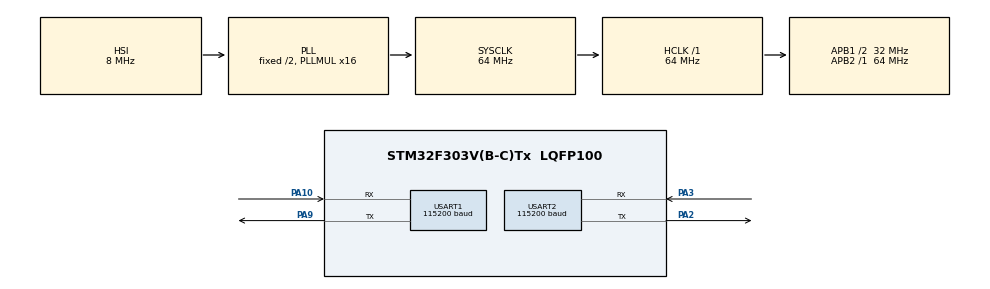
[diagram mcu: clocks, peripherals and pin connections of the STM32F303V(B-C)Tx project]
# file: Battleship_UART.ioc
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Mcu.Family=STM32F3
Mcu.Name=STM32F303V(B-C)Tx
Mcu.Package=LQFP100
NVIC.PriorityGroup=NVIC_PRIORITYGROUP_4
NVIC.USART1_IRQn=true\:0\:0\:false\:false\:true\:true\:true
NVIC.USART2_IRQn=true\:0\:0\:false\:false\:true\:true\:true
PA10.Mode=Asynchronous
PA10.Signal=USART1_RX
PA2.Mode=Asynchronous
PA2.Signal=USART2_TX
PA3.Mode=Asynchronous
PA3.Signal=USART2_RX
PA9.Mode=Asynchronous
PA9.Signal=USART1_TX
ProjectManager.HeapSize=0x200
ProjectManager.StackSize=0x400
ProjectManager.TargetToolchain=MDK-ARM V5.27
RCC.AHBFreq_Value=64000000
RCC.APB1CLKDivider=RCC_HCLK_DIV2
RCC.APB1Freq_Value=32000000
RCC.APB1TimFreq_Value=64000000
RCC.APB2Freq_Value=64000000
RCC.APB2TimFreq_Value=64000000
RCC.CortexFreq_Value=64000000
RCC.HCLKFreq_Value=64000000
RCC.HSE_VALUE=8000000
RCC.HSI_VALUE=8000000
RCC.LSE_VALUE=32768
RCC.PLLMUL=RCC_PLL_MUL16
RCC.SYSCLKFreq_VALUE=64000000
RCC.SYSCLKSourceVirtual=RCC_SYSCLKSOURCE_PLLCLK
RCC.USBFreq_Value=64000000
USART1.BaudRate=115200
USART1.VirtualMode-Asynchronous=VM_ASYNC
USART2.BaudRate=115200
USART2.VirtualMode-Asynchronous=VM_ASYNC
VP_CRC_VS_CRC.Mode=CRC_Activate
board=custom

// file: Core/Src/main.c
/* USER CODE BEGIN Header */
/**
  ******************************************************************************
  * @file           : main.c
  * @brief          : Main program body
  ******************************************************************************
  * @attention
  *
  * <h2><center>&copy; Copyright (c) 2023 STMicroelectronics.
  * All rights reserved.</center></h2>
  *
  * This software component is licensed by ST under BSD 3-Clause license,
  * the "License"; You may not use this file except in compliance with the
  * License. You may obtain a copy of the License at:
  *                        opensource.org/licenses/BSD-3-Clause
  *
  ******************************************************************************
  */
/* USER CODE END Header */
#include "main.h"

/* USER CODE BEGIN Includes */
#include "linear_buf.h"
#include "Battleships.h"
#include <stdio.h>
/* USER CODE END Includes */

CRC_HandleTypeDef hcrc;

UART_HandleTypeDef huart1;
UART_HandleTypeDef huart2;

/* USER CODE BEGIN PV */
uint8_t uart_byte_buf[1];
linear_buf uart_lb;

uint8_t homeMatrix[10][10];
uint8_t awayMatrix[10][10];
uint8_t shotsMatrix[10][10];
Ships Carrier={1,1,0,carrier};
Ships Destroyer={1,2,0,destroyer};
Ships Battleship={1,3,0,battleship};
Ships Submarine={1,4,0,submarine};
Ships Patrol_boat={1,5,0,patrol_boat};
uint8_t poruka[30]={0};

/* USER CODE END PV */

void SystemClock_Config(void);
static void MX_GPIO_Init(void);
static void MX_USART1_UART_Init(void);
static void MX_USART2_UART_Init(void);
static void MX_CRC_Init(void);

/* USER CODE BEGIN 0 */
int fputc(int ch, FILE *f)
{
    HAL_UART_Transmit(&huart2, (unsigned char *)&ch, 1, 100);
    return ch;
}

/* USER CODE END 0 */

int main(void)
{

  /* MCU Configuration--------------------------------------------------------*/

  /* Reset of all peripherals, Initializes the Flash interface and the Systick. */
  HAL_Init();

  /* Configure the system clock */
  SystemClock_Config();

  /* Initialize all configured peripherals */
  MX_GPIO_Init();
  MX_USART1_UART_Init();
  MX_USART2_UART_Init();
  MX_CRC_Init();

  /* Infinite loop */
  /* USER CODE BEGIN WHILE */
	initMatrix(homeMatrix);
	uint8_t possError = setShip(Carrier,homeMatrix);
	uint8_t possError2 = setShip(Destroyer,homeMatrix);
	uint8_t possError3 = setShip(Battleship,homeMatrix);
	uint8_t possError4 = setShip(Submarine,homeMatrix);
	uint8_t possError5 = setShip(Patrol_boat,homeMatrix);
	//if(possError!=1 || possError2!=1||possError3!=1||possError4!=1||possError5!=1) printf("Error %d\n", possError||possError2||possError3||possError4||possError5);
	shoot(3,2, homeMatrix);
	shoot(0,0, homeMatrix);
	shoot(7,2, homeMatrix);
	shoot(6,5, homeMatrix);
	shoot(9,4, homeMatrix);
	shoot(5,6, homeMatrix);

poruka[0] = 'A';
poruka[1] = ':';
poruka[2] = encodeShipOrigin(Carrier);
poruka[3] = encodeShipOrigin(Battleship);
poruka[4] = encodeShipOrigin(Destroyer);
poruka[5] = encodeShipOrigin(Submarine);
poruka[6] = encodeShipOrigin(Patrol_boat);
poruka[7] = encodeShipsRotation(Carrier, Battleship, Destroyer, Submarine, Patrol_boat);
bitMap(homeMatrix, &poruka[8]);
*(uint32_t*) (&poruka[26]) = HAL_CRC_Calculate(&hcrc, (uint32_t*) poruka, 26);

HAL_UART_Transmit(&huart1, poruka, 30, 100);

HAL_UART_Receive(&huart1,poruka,30,2000);
bitMapdecoder(poruka,homeMatrix);
printMatrix(homeMatrix);
  while (1)
  {
    /* USER CODE END WHILE */

  }
}

void SystemClock_Config(void)
{
  RCC_OscInitTypeDef RCC_OscInitStruct = {0};
  RCC_ClkInitTypeDef RCC_ClkInitStruct = {0};
  RCC_PeriphCLKInitTypeDef PeriphClkInit = {0};

  /** Initializes the RCC Oscillators according to the specified parameters
  * in the RCC_OscInitTypeDef structure.
  */
  RCC_OscInitStruct.OscillatorType = RCC_OSCILLATORTYPE_HSI;
  RCC_OscInitStruct.HSIState = RCC_HSI_ON;
  RCC_OscInitStruct.HSICalibrationValue = RCC_HSICALIBRATION_DEFAULT;
  RCC_OscInitStruct.PLL.PLLState = RCC_PLL_ON;
  RCC_OscInitStruct.PLL.PLLSource = RCC_PLLSOURCE_HSI;
  RCC_OscInitStruct.PLL.PLLMUL = RCC_PLL_MUL16;
  if (HAL_RCC_OscConfig(&RCC_OscInitStruct) != HAL_OK)
  {
    Error_Handler();
  }
  /** Initializes the CPU, AHB and APB buses clocks
  */
  RCC_ClkInitStruct.ClockType = RCC_CLOCKTYPE_HCLK|RCC_CLOCKTYPE_SYSCLK
                              |RCC_CLOCKTYPE_PCLK1|RCC_CLOCKTYPE_PCLK2;
  RCC_ClkInitStruct.SYSCLKSource = RCC_SYSCLKSOURCE_PLLCLK;
  RCC_ClkInitStruct.AHBCLKDivider = RCC_SYSCLK_DIV1;
  RCC_ClkInitStruct.APB1CLKDivider = RCC_HCLK_DIV2;
  RCC_ClkInitStruct.APB2CLKDivider = RCC_HCLK_DIV1;

  if (HAL_RCC_ClockConfig(&RCC_ClkInitStruct, FLASH_LATENCY_2) != HAL_OK)
  {
    Error_Handler();
  }
  PeriphClkInit.PeriphClockSelection = RCC_PERIPHCLK_USART1|RCC_PERIPHCLK_USART2;
  PeriphClkInit.Usart1ClockSelection = RCC_USART1CLKSOURCE_PCLK2;
  PeriphClkInit.Usart2ClockSelection = RCC_USART2CLKSOURCE_PCLK1;
  if (HAL_RCCEx_PeriphCLKConfig(&PeriphClkInit) != HAL_OK)
  {
    Error_Handler();
  }
}

static void MX_CRC_Init(void)
{

  hcrc.Instance = CRC;
  hcrc.Init.DefaultPolynomialUse = DEFAULT_POLYNOMIAL_ENABLE;
  hcrc.Init.DefaultInitValueUse = DEFAULT_INIT_VALUE_ENABLE;
  hcrc.Init.InputDataInversionMode = CRC_INPUTDATA_INVERSION_NONE;
  hcrc.Init.OutputDataInversionMode = CRC_OUTPUTDATA_INVERSION_DISABLE;
  hcrc.InputDataFormat = CRC_INPUTDATA_FORMAT_BYTES;
  if (HAL_CRC_Init(&hcrc) != HAL_OK)
  {
    Error_Handler();
  }

}

static void MX_USART1_UART_Init(void)
{

  huart1.Instance = USART1;
  huart1.Init.BaudRate = 115200;
  huart1.Init.WordLength = UART_WORDLENGTH_8B;
  huart1.Init.StopBits = UART_STOPBITS_1;
  huart1.Init.Parity = UART_PARITY_NONE;
  huart1.Init.Mode = UART_MODE_TX_RX;
  huart1.Init.HwFlowCtl = UART_HWCONTROL_NONE;
  huart1.Init.OverSampling = UART_OVERSAMPLING_16;
  huart1.Init.OneBitSampling = UART_ONE_BIT_SAMPLE_DISABLE;
  huart1.AdvancedInit.AdvFeatureInit = UART_ADVFEATURE_NO_INIT;
  if (HAL_UART_Init(&huart1) != HAL_OK)
  {
    Error_Handler();
  }

}

static void MX_USART2_UART_Init(void)
{

  huart2.Instance = USART2;
  huart2.Init.BaudRate = 115200;
  huart2.Init.WordLength = UART_WORDLENGTH_8B;
  huart2.Init.StopBits = UART_STOPBITS_1;
  huart2.Init.Parity = UART_PARITY_NONE;
  huart2.Init.Mode = UART_MODE_TX_RX;
  huart2.Init.HwFlowCtl = UART_HWCONTROL_NONE;
  huart2.Init.OverSampling = UART_OVERSAMPLING_16;
  huart2.Init.OneBitSampling = UART_ONE_BIT_SAMPLE_DISABLE;
  huart2.AdvancedInit.AdvFeatureInit = UART_ADVFEATURE_NO_INIT;
  if (HAL_UART_Init(&huart2) != HAL_OK)
  {
    Error_Handler();
  }

}

static void MX_GPIO_Init(void)
{

  /* GPIO Ports Clock Enable */
  __HAL_RCC_GPIOA_CLK_ENABLE();

}

void Error_Handler(void)
{
  __disable_irq();
  while (1)
  {
  }
}

/************************ (C) COPYRIGHT STMicroelectronics *****END OF FILE****/
